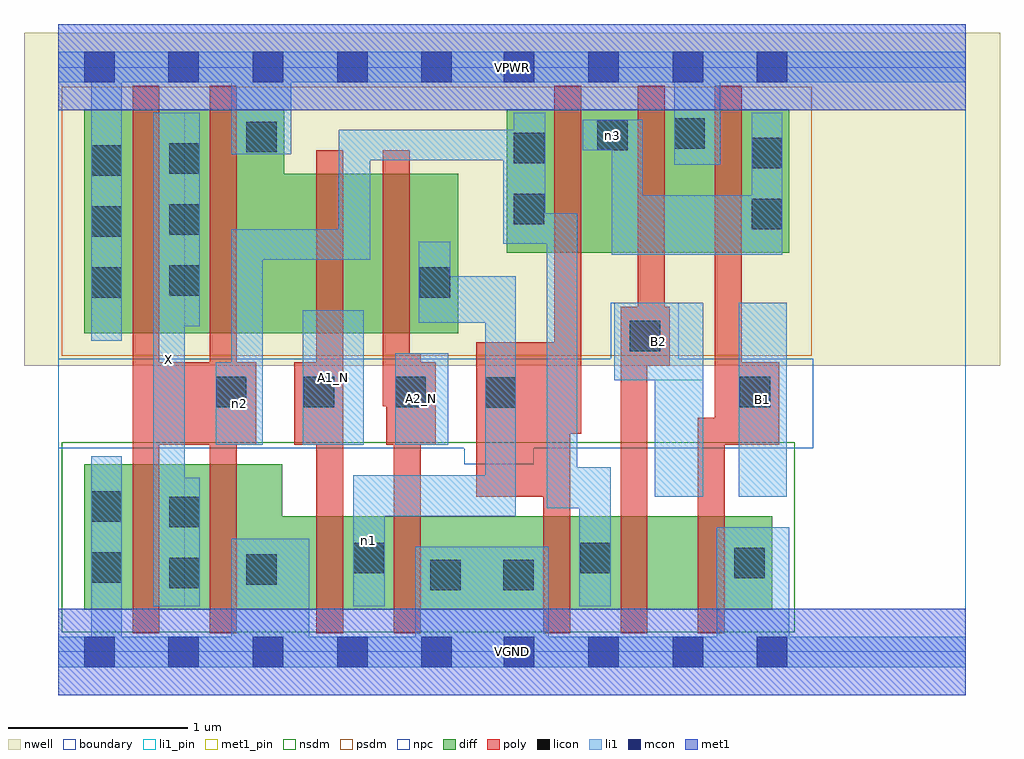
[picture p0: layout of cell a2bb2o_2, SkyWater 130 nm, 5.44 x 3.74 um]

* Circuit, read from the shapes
.subckt a2bb2o_2 A1_N A2_N B1 B2 VGND VPWR X n1 n2 n3
XM1 X n2 VGND VSUBS sky130_fd_pr__nfet_01v8 w=0.81 l=0.15 m=2
XM2 n1 A1_N VGND VSUBS sky130_fd_pr__nfet_01v8 w=0.52 l=0.15
XM3 VGND A2_N n1 VSUBS sky130_fd_pr__nfet_01v8 w=0.52 l=0.15
XM4 n2 n1 VGND VSUBS sky130_fd_pr__nfet_01v8 w=0.52 l=0.15
XM5 n4 B2 n2 VSUBS sky130_fd_pr__nfet_01v8 w=0.52 l=0.15
XM6 VGND B1 n4 VSUBS sky130_fd_pr__nfet_01v8 w=0.52 l=0.15
XM7 X n2 VPWR n5 sky130_fd_pr__pfet_01v8 w=1.25 l=0.15 m=2
XM8 n6 A1_N VPWR n5 sky130_fd_pr__pfet_01v8 w=0.89 l=0.15
XM9 n1 A2_N n6 n5 sky130_fd_pr__pfet_01v8 w=0.89 l=0.15
XM10 n3 n1 n2 n5 sky130_fd_pr__pfet_01v8 w=0.8 l=0.15
XM11 VPWR B2 n3 n5 sky130_fd_pr__pfet_01v8 w=0.8 l=0.15
XM12 n3 B1 VPWR n5 sky130_fd_pr__pfet_01v8 w=0.8 l=0.15
.ends

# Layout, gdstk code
import gdstk
lib = gdstk.Library(unit=1e-6, precision=1e-09)
def R(c, l, rs):  # rectangles x0, y0, x1, y1
    for r in rs: c.add(gdstk.rectangle(r[:2], r[2:], *l))
def A(c, l, x, y, w, h, nx, ny, dx, dy):  # array of equal rectangles
    R(c, l, [(x+i*dx, y+j*dy, x+i*dx+w, y+j*dy+h) for i in range(nx) for j in range(ny)])
nwell = (64, 20)
diff = (65, 20)
poly = (66, 20)
licon = (66, 44)
li1_pin = (67, 16)
li1 = (67, 20)
mcon = (67, 44)
met1_pin = (68, 16)
met1 = (68, 20)
nsdm = (93, 44)
psdm = (94, 20)
npc = (95, 20)
boundary = (235, 4)

a2bb2o_2 = lib.new_cell('a2bb2o_2')
R(a2bb2o_2, nwell, [(-0.19,1.595,5.25,3.45), (0,1.595,5.06,3.45)])
R(a2bb2o_2, diff, [(0.145,0.235,3.98,0.755), (0.145,0.235,1.25,1.045), (0.145,1.775,2.23,2.665), (0.145,1.775,1.26,3.025), (2.5,2.225,4.075,3.025)])
R(a2bb2o_2, poly, [(0.415,0.105,0.565,3.155), (0.845,0.105,0.995,3.155), (1.44,0.105,1.59,2.795), (1.87,0.105,2.02,1.665), (2.705,0.105,2.855,1.725), (3.135,0.105,3.285,1.925), (3.565,0.105,3.715,1.305), (2.33,0.865,2.855,1.725), (0.415,1.155,1.105,1.615), (1.315,1.155,1.59,1.615), (1.83,1.155,2.105,1.615), (3.66,1.155,3.81,3.155), (3.66,1.155,4.02,1.615), (2.765,1.215,2.915,3.155), (1.81,1.37,1.96,2.795), (3.135,1.595,3.41,1.925), (3.23,1.595,3.38,3.155)])
A(a2bb2o_2, licon, 0.185, 1.975, 0.17, 0.17, 1, 3, 0, 0.34)
A(a2bb2o_2, licon, 0.62, 1.985, 0.17, 0.17, 1, 3, 0, 0.34)
R(a2bb2o_2, licon, [(2.075,0.345,2.245,0.515), (2.48,0.345,2.65,0.515), (0.62,0.355,0.79,0.525), (1.05,0.375,1.22,0.545), (0.185,0.385,0.355,0.555), (3.77,0.41,3.94,0.58), (1.645,0.44,1.815,0.61), (2.91,0.44,3.08,0.61), (0.62,0.695,0.79,0.865), (0.185,0.725,0.355,0.895), (2.38,1.36,2.55,1.53), (0.88,1.365,1.05,1.535), (1.37,1.365,1.54,1.535), (1.88,1.365,2.05,1.535), (3.8,1.365,3.97,1.535), (3.185,1.675,3.355,1.845), (2.015,1.975,2.185,2.145), (3.865,2.355,4.035,2.525), (2.54,2.385,2.71,2.555), (3.865,2.695,4.035,2.865), (2.54,2.725,2.71,2.895), (1.05,2.785,1.22,2.955), (3.005,2.795,3.175,2.965), (3.435,2.805,3.605,2.975)])
R(a2bb2o_2, li1_pin, [(0.53,0.255,0.705,3.005), (3.795,0.865,4.06,1.945), (1.365,1.155,1.705,1.905), (1.88,1.155,2.175,1.665), (3.1,1.515,3.595,1.945)])
R(a2bb2o_2, li1, [(0,-0.085,5.06,0.085), (0.185,-0.085,0.355,1.09), (0.965,-0.085,1.4,0.63), (1.99,-0.085,2.735,0.585), (3.67,-0.085,4.075,0.695), (0.53,0.255,0.705,3.005), (0.53,0.255,0.79,0.97), (1.645,0.255,1.82,0.985), (2.905,0.255,3.08,1.03), (1.645,0.755,2.55,0.985), (2.38,0.755,2.55,2.095), (2.725,0.8,2.895,2.445), (2.725,0.8,3.08,1.03), (3.325,0.865,3.595,1.945), (3.795,0.865,4.06,1.945), (0.88,1.155,1.14,1.615), (0.965,1.155,1.14,2.355), (1.365,1.155,1.705,1.905), (1.88,1.155,2.175,1.665), (3.1,1.515,3.595,1.945), (0.185,1.735,0.355,3.345), (0.53,1.815,0.79,3.005), (2.01,1.835,2.55,2.095), (2.01,1.835,2.185,2.285), (0.965,2.185,1.74,2.355), (1.565,2.185,1.74,2.91), (3.085,2.215,4.035,2.545), (3.085,2.215,3.26,2.965), (3.865,2.215,4.035,3.005), (2.48,2.275,2.715,2.91), (2.48,2.275,2.895,2.445), (2.54,2.275,2.715,3.005), (3.435,2.715,3.69,3.345), (1.565,2.74,2.715,2.91), (0.965,2.775,1.3,3.345), (2.925,2.795,3.26,2.965), (0,3.175,5.06,3.345)])
A(a2bb2o_2, mcon, 0.145, -0.085, 0.17, 0.17, 5, 2, 0.47, 3.26)
A(a2bb2o_2, mcon, 2.485, -0.085, 0.17, 0.17, 4, 2, 0.47, 3.26)
R(a2bb2o_2, met1_pin, [(0,-0.24,5.06,0.24), (0,3.02,5.06,3.5)])
R(a2bb2o_2, met1, [(0,-0.24,5.06,0.24), (0,3.02,5.06,3.5)])
R(a2bb2o_2, nsdm, [(0.02,0.11,4.105,1.17)])
R(a2bb2o_2, psdm, [(0.02,1.65,4.2,3.15)])
R(a2bb2o_2, npc, [(2.265,1.045,2.65,1.635), (0,1.135,4.21,1.635), (3.08,1.135,3.46,1.945)])
R(a2bb2o_2, boundary, [(0,0,5.06,3.26)])
a2bb2o_2.add(gdstk.Label('A1_N', (1.535,1.53), layer=67, texttype=5))
a2bb2o_2.add(gdstk.Label('A2_N', (2.027,1.41), layer=67, texttype=5))
a2bb2o_2.add(gdstk.Label('B1', (3.927,1.405), layer=67, texttype=5))
a2bb2o_2.add(gdstk.Label('B2', (3.347,1.73), layer=67, texttype=5))
a2bb2o_2.add(gdstk.Label('X', (0.617,1.63), layer=67, texttype=5))
a2bb2o_2.add(gdstk.Label('n1', (1.732,0.62), layer=67, texttype=5))
a2bb2o_2.add(gdstk.Label('n2', (1.01,1.385), layer=67, texttype=5))
a2bb2o_2.add(gdstk.Label('n3', (3.092,2.88), layer=67, texttype=5))
a2bb2o_2.add(gdstk.Label('VPWR', (2.53,3.26), layer=68, texttype=5))
a2bb2o_2.add(gdstk.Label('VGND', (2.53,0), layer=68, texttype=5))
a2bb2o_2.add(gdstk.Label('A1_N', (1.535,1.53), layer=67, texttype=16))
a2bb2o_2.add(gdstk.Label('A2_N', (2.027,1.41), layer=67, texttype=16))
a2bb2o_2.add(gdstk.Label('B1', (3.927,1.405), layer=67, texttype=16))
a2bb2o_2.add(gdstk.Label('B2', (3.347,1.73), layer=67, texttype=16))
a2bb2o_2.add(gdstk.Label('X', (0.617,1.63), layer=67, texttype=16))
a2bb2o_2.add(gdstk.Label('VPWR', (2.53,3.26), layer=68, texttype=16))
a2bb2o_2.add(gdstk.Label('VGND', (2.53,0), layer=68, texttype=16))

lib.write_gds('a2bb2o_2.gds')
